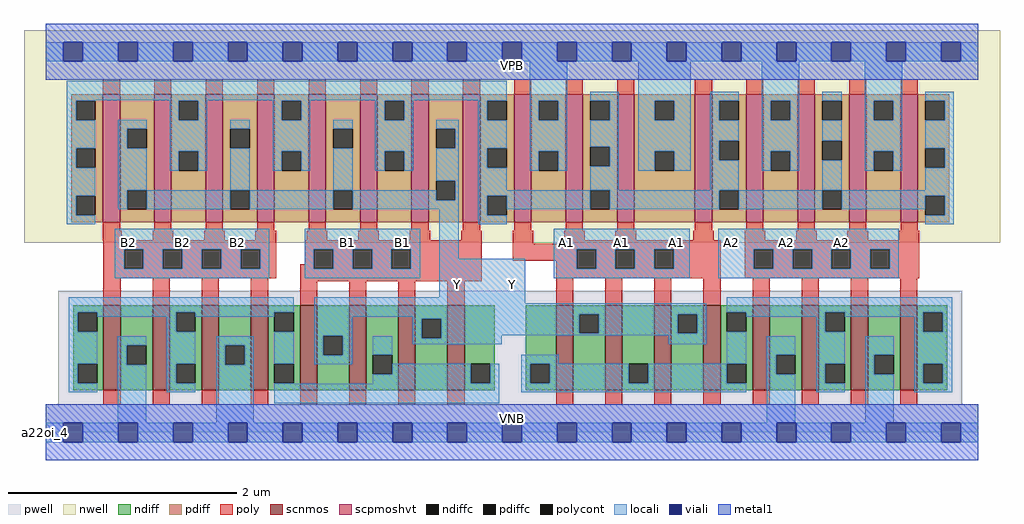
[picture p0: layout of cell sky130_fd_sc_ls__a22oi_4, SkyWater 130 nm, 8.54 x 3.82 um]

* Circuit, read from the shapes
.subckt sky130_fd_sc_ls__a22oi_4 A1 A2 B1 B2 VGND VNB VPB VPWR Y
XM1 VGND B2 n1 VNB sky130_fd_pr__nfet_01v8 w=0.74 l=0.15 m=4
XM2 Y B1 n1 VNB sky130_fd_pr__nfet_01v8 w=0.74 l=0.15 m=4
XM3 Y A1 n2 VNB sky130_fd_pr__nfet_01v8 w=0.74 l=0.15 m=4
XM4 VGND A2 n2 VNB sky130_fd_pr__nfet_01v8 w=0.74 l=0.15 m=4
XM5 Y B2 n3 VPB sky130_fd_pr__pfet_01v8_hvt w=1.12 l=0.15 m=4
XM6 Y B1 n3 VPB sky130_fd_pr__pfet_01v8_hvt w=1.12 l=0.15 m=4
XM7 VPWR A1 n3 VPB sky130_fd_pr__pfet_01v8_hvt w=1.12 l=0.15 m=4
XM8 VPWR A2 n3 VPB sky130_fd_pr__pfet_01v8_hvt w=1.12 l=0.15 m=4
.ends

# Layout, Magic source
magic
tech sky130A
magscale 1 2
<< nwell >>
rect -38 332 1670 704
<< pwell >>
rect 22 49 1604 248
rect 0 0 1632 49
<< scnmos >>
rect 101 74 131 222
rect 187 74 217 222
rect 273 74 303 222
rect 359 74 389 222
rect 445 74 475 222
rect 531 74 561 222
rect 617 74 647 222
rect 703 74 733 222
rect 893 74 923 222
rect 979 74 1009 222
rect 1065 74 1095 222
rect 1151 74 1181 222
rect 1237 74 1267 222
rect 1323 74 1353 222
rect 1409 74 1439 222
rect 1495 74 1525 222
<< scpmoshvt >>
rect 100 368 130 592
rect 190 368 220 592
rect 280 368 310 592
rect 370 368 400 592
rect 460 368 490 592
rect 550 368 580 592
rect 640 368 670 592
rect 730 368 760 592
rect 820 368 850 592
rect 910 368 940 592
rect 1000 368 1030 592
rect 1136 368 1166 592
rect 1226 368 1256 592
rect 1316 368 1346 592
rect 1406 368 1436 592
rect 1496 368 1526 592
<< ndiff >>
rect 48 210 101 222
rect 48 176 56 210
rect 90 176 101 210
rect 48 120 101 176
rect 48 86 56 120
rect 90 86 101 120
rect 48 74 101 86
rect 131 152 187 222
rect 131 118 142 152
rect 176 118 187 152
rect 131 74 187 118
rect 217 210 273 222
rect 217 176 228 210
rect 262 176 273 210
rect 217 120 273 176
rect 217 86 228 120
rect 262 86 273 120
rect 217 74 273 86
rect 303 152 359 222
rect 303 118 314 152
rect 348 118 359 152
rect 303 74 359 118
rect 389 210 445 222
rect 389 176 400 210
rect 434 176 445 210
rect 389 120 445 176
rect 389 86 400 120
rect 434 86 445 120
rect 389 74 445 86
rect 475 169 531 222
rect 475 135 486 169
rect 520 135 531 169
rect 475 74 531 135
rect 561 136 617 222
rect 561 102 572 136
rect 606 102 617 136
rect 561 74 617 102
rect 647 199 703 222
rect 647 165 658 199
rect 692 165 703 199
rect 647 74 703 165
rect 733 120 786 222
rect 733 86 744 120
rect 778 86 786 120
rect 733 74 786 86
rect 840 120 893 222
rect 840 86 848 120
rect 882 86 893 120
rect 840 74 893 86
rect 923 207 979 222
rect 923 173 934 207
rect 968 173 979 207
rect 923 74 979 173
rect 1009 120 1065 222
rect 1009 86 1020 120
rect 1054 86 1065 120
rect 1009 74 1065 86
rect 1095 207 1151 222
rect 1095 173 1106 207
rect 1140 173 1151 207
rect 1095 74 1151 173
rect 1181 210 1237 222
rect 1181 176 1192 210
rect 1226 176 1237 210
rect 1181 120 1237 176
rect 1181 86 1192 120
rect 1226 86 1237 120
rect 1181 74 1237 86
rect 1267 136 1323 222
rect 1267 102 1278 136
rect 1312 102 1323 136
rect 1267 74 1323 102
rect 1353 210 1409 222
rect 1353 176 1364 210
rect 1398 176 1409 210
rect 1353 120 1409 176
rect 1353 86 1364 120
rect 1398 86 1409 120
rect 1353 74 1409 86
rect 1439 136 1495 222
rect 1439 102 1450 136
rect 1484 102 1495 136
rect 1439 74 1495 102
rect 1525 210 1578 222
rect 1525 176 1536 210
rect 1570 176 1578 210
rect 1525 120 1578 176
rect 1525 86 1536 120
rect 1570 86 1578 120
rect 1525 74 1578 86
<< pdiff >>
rect 45 580 100 592
rect 45 546 53 580
rect 87 546 100 580
rect 45 497 100 546
rect 45 463 53 497
rect 87 463 100 497
rect 45 414 100 463
rect 45 380 53 414
rect 87 380 100 414
rect 45 368 100 380
rect 130 531 190 592
rect 130 497 143 531
rect 177 497 190 531
rect 130 424 190 497
rect 130 390 143 424
rect 177 390 190 424
rect 130 368 190 390
rect 220 580 280 592
rect 220 546 233 580
rect 267 546 280 580
rect 220 492 280 546
rect 220 458 233 492
rect 267 458 280 492
rect 220 368 280 458
rect 310 531 370 592
rect 310 497 323 531
rect 357 497 370 531
rect 310 424 370 497
rect 310 390 323 424
rect 357 390 370 424
rect 310 368 370 390
rect 400 580 460 592
rect 400 546 413 580
rect 447 546 460 580
rect 400 492 460 546
rect 400 458 413 492
rect 447 458 460 492
rect 400 368 460 458
rect 490 531 550 592
rect 490 497 503 531
rect 537 497 550 531
rect 490 424 550 497
rect 490 390 503 424
rect 537 390 550 424
rect 490 368 550 390
rect 580 580 640 592
rect 580 546 593 580
rect 627 546 640 580
rect 580 492 640 546
rect 580 458 593 492
rect 627 458 640 492
rect 580 368 640 458
rect 670 531 730 592
rect 670 497 683 531
rect 717 497 730 531
rect 670 440 730 497
rect 670 406 683 440
rect 717 406 730 440
rect 670 368 730 406
rect 760 580 820 592
rect 760 546 773 580
rect 807 546 820 580
rect 760 497 820 546
rect 760 463 773 497
rect 807 463 820 497
rect 760 414 820 463
rect 760 380 773 414
rect 807 380 820 414
rect 760 368 820 380
rect 850 580 910 592
rect 850 546 863 580
rect 897 546 910 580
rect 850 492 910 546
rect 850 458 863 492
rect 897 458 910 492
rect 850 368 910 458
rect 940 580 1000 592
rect 940 546 953 580
rect 987 546 1000 580
rect 940 500 1000 546
rect 940 466 953 500
rect 987 466 1000 500
rect 940 424 1000 466
rect 940 390 953 424
rect 987 390 1000 424
rect 940 368 1000 390
rect 1030 580 1136 592
rect 1030 546 1066 580
rect 1100 546 1136 580
rect 1030 492 1136 546
rect 1030 458 1066 492
rect 1100 458 1136 492
rect 1030 368 1136 458
rect 1166 580 1226 592
rect 1166 546 1179 580
rect 1213 546 1226 580
rect 1166 510 1226 546
rect 1166 476 1179 510
rect 1213 476 1226 510
rect 1166 424 1226 476
rect 1166 390 1179 424
rect 1213 390 1226 424
rect 1166 368 1226 390
rect 1256 580 1316 592
rect 1256 546 1269 580
rect 1303 546 1316 580
rect 1256 492 1316 546
rect 1256 458 1269 492
rect 1303 458 1316 492
rect 1256 368 1316 458
rect 1346 580 1406 592
rect 1346 546 1359 580
rect 1393 546 1406 580
rect 1346 510 1406 546
rect 1346 476 1359 510
rect 1393 476 1406 510
rect 1346 424 1406 476
rect 1346 390 1359 424
rect 1393 390 1406 424
rect 1346 368 1406 390
rect 1436 580 1496 592
rect 1436 546 1449 580
rect 1483 546 1496 580
rect 1436 492 1496 546
rect 1436 458 1449 492
rect 1483 458 1496 492
rect 1436 368 1496 458
rect 1526 580 1581 592
rect 1526 546 1539 580
rect 1573 546 1581 580
rect 1526 497 1581 546
rect 1526 463 1539 497
rect 1573 463 1581 497
rect 1526 414 1581 463
rect 1526 380 1539 414
rect 1573 380 1581 414
rect 1526 368 1581 380
<< ndiffc >>
rect 56 176 90 210
rect 56 86 90 120
rect 142 118 176 152
rect 228 176 262 210
rect 228 86 262 120
rect 314 118 348 152
rect 400 176 434 210
rect 400 86 434 120
rect 486 135 520 169
rect 572 102 606 136
rect 658 165 692 199
rect 744 86 778 120
rect 848 86 882 120
rect 934 173 968 207
rect 1020 86 1054 120
rect 1106 173 1140 207
rect 1192 176 1226 210
rect 1192 86 1226 120
rect 1278 102 1312 136
rect 1364 176 1398 210
rect 1364 86 1398 120
rect 1450 102 1484 136
rect 1536 176 1570 210
rect 1536 86 1570 120
<< pdiffc >>
rect 53 546 87 580
rect 53 463 87 497
rect 53 380 87 414
rect 143 497 177 531
rect 143 390 177 424
rect 233 546 267 580
rect 233 458 267 492
rect 323 497 357 531
rect 323 390 357 424
rect 413 546 447 580
rect 413 458 447 492
rect 503 497 537 531
rect 503 390 537 424
rect 593 546 627 580
rect 593 458 627 492
rect 683 497 717 531
rect 683 406 717 440
rect 773 546 807 580
rect 773 463 807 497
rect 773 380 807 414
rect 863 546 897 580
rect 863 458 897 492
rect 953 546 987 580
rect 953 466 987 500
rect 953 390 987 424
rect 1066 546 1100 580
rect 1066 458 1100 492
rect 1179 546 1213 580
rect 1179 476 1213 510
rect 1179 390 1213 424
rect 1269 546 1303 580
rect 1269 458 1303 492
rect 1359 546 1393 580
rect 1359 476 1393 510
rect 1359 390 1393 424
rect 1449 546 1483 580
rect 1449 458 1483 492
rect 1539 546 1573 580
rect 1539 463 1573 497
rect 1539 380 1573 414
<< poly >>
rect 100 592 130 618
rect 190 592 220 618
rect 280 592 310 618
rect 370 592 400 618
rect 460 592 490 618
rect 550 592 580 618
rect 640 592 670 618
rect 730 592 760 618
rect 820 592 850 618
rect 910 592 940 618
rect 1000 592 1030 618
rect 1136 592 1166 618
rect 1226 592 1256 618
rect 1316 592 1346 618
rect 1406 592 1436 618
rect 1496 592 1526 618
rect 100 353 130 368
rect 190 353 220 368
rect 280 353 310 368
rect 370 353 400 368
rect 460 353 490 368
rect 550 353 580 368
rect 640 353 670 368
rect 730 353 760 368
rect 820 353 850 368
rect 910 353 940 368
rect 1000 353 1030 368
rect 1136 353 1166 368
rect 1226 353 1256 368
rect 1316 353 1346 368
rect 1406 353 1436 368
rect 1496 353 1526 368
rect 100 336 133 353
rect 187 336 223 353
rect 277 336 313 353
rect 367 336 403 353
rect 457 336 493 353
rect 547 336 583 353
rect 637 336 673 353
rect 727 336 763 353
rect 101 320 403 336
rect 101 286 137 320
rect 171 286 205 320
rect 239 286 273 320
rect 307 286 341 320
rect 375 286 403 320
rect 453 320 763 336
rect 453 294 469 320
rect 101 270 403 286
rect 445 286 469 294
rect 503 286 537 320
rect 571 286 605 320
rect 639 286 763 320
rect 817 330 853 353
rect 907 336 943 353
rect 997 336 1033 353
rect 1133 336 1169 353
rect 1223 336 1259 353
rect 1313 336 1349 353
rect 1403 336 1439 353
rect 1493 336 1529 353
rect 907 330 1181 336
rect 817 320 1181 330
rect 817 300 929 320
rect 101 222 131 270
rect 187 222 217 270
rect 273 222 303 270
rect 359 222 389 270
rect 445 264 763 286
rect 893 286 929 300
rect 963 286 997 320
rect 1031 286 1065 320
rect 1099 286 1181 320
rect 893 270 1181 286
rect 1223 320 1529 336
rect 1223 286 1239 320
rect 1273 286 1307 320
rect 1341 286 1375 320
rect 1409 286 1443 320
rect 1477 286 1529 320
rect 1223 270 1529 286
rect 445 222 475 264
rect 531 222 561 264
rect 617 222 647 264
rect 703 222 733 264
rect 893 222 923 270
rect 979 222 1009 270
rect 1065 222 1095 270
rect 1151 222 1181 270
rect 1237 222 1267 270
rect 1323 222 1353 270
rect 1409 222 1439 270
rect 1495 222 1525 270
rect 101 48 131 74
rect 187 48 217 74
rect 273 48 303 74
rect 359 48 389 74
rect 445 48 475 74
rect 531 48 561 74
rect 617 48 647 74
rect 703 48 733 74
rect 893 48 923 74
rect 979 48 1009 74
rect 1065 48 1095 74
rect 1151 48 1181 74
rect 1237 48 1267 74
rect 1323 48 1353 74
rect 1409 48 1439 74
rect 1495 48 1525 74
<< polycont >>
rect 137 286 171 320
rect 205 286 239 320
rect 273 286 307 320
rect 341 286 375 320
rect 469 286 503 320
rect 537 286 571 320
rect 605 286 639 320
rect 929 286 963 320
rect 997 286 1031 320
rect 1065 286 1099 320
rect 1239 286 1273 320
rect 1307 286 1341 320
rect 1375 286 1409 320
rect 1443 286 1477 320
<< locali >>
rect 0 649 31 683
rect 65 649 127 683
rect 161 649 223 683
rect 257 649 319 683
rect 353 649 415 683
rect 449 649 511 683
rect 545 649 607 683
rect 641 649 703 683
rect 737 649 799 683
rect 833 649 895 683
rect 929 649 991 683
rect 1025 649 1087 683
rect 1121 649 1183 683
rect 1217 649 1279 683
rect 1313 649 1375 683
rect 1409 649 1471 683
rect 1505 649 1567 683
rect 1601 649 1632 683
rect 37 581 807 615
rect 37 580 87 581
rect 37 546 53 580
rect 217 580 283 581
rect 37 497 87 546
rect 37 463 53 497
rect 37 414 87 463
rect 37 380 53 414
rect 127 531 177 547
rect 127 497 143 531
rect 127 424 177 497
rect 217 546 233 580
rect 267 546 283 580
rect 397 580 463 581
rect 217 492 283 546
rect 217 458 233 492
rect 267 458 283 492
rect 323 531 357 547
rect 323 424 357 497
rect 397 546 413 580
rect 447 546 463 580
rect 577 580 643 581
rect 397 492 463 546
rect 397 458 413 492
rect 447 458 463 492
rect 503 531 537 547
rect 503 424 537 497
rect 577 546 593 580
rect 627 546 643 580
rect 757 580 807 581
rect 577 492 643 546
rect 577 458 593 492
rect 627 458 643 492
rect 683 531 723 547
rect 717 497 723 531
rect 683 440 723 497
rect 127 390 143 424
rect 177 390 323 424
rect 357 390 503 424
rect 537 406 683 424
rect 717 406 723 440
rect 537 390 723 406
rect 37 364 87 380
rect 121 320 391 356
rect 121 286 137 320
rect 171 286 205 320
rect 239 286 273 320
rect 307 286 341 320
rect 375 286 391 320
rect 121 270 391 286
rect 453 320 655 356
rect 453 286 469 320
rect 503 286 537 320
rect 571 286 605 320
rect 639 286 655 320
rect 453 270 655 286
rect 689 304 723 390
rect 757 546 773 580
rect 757 497 807 546
rect 757 463 773 497
rect 757 424 807 463
rect 847 580 913 649
rect 847 546 863 580
rect 897 546 913 580
rect 847 492 913 546
rect 847 458 863 492
rect 897 458 913 492
rect 953 580 1003 596
rect 987 546 1003 580
rect 953 500 1003 546
rect 987 466 1003 500
rect 953 424 1003 466
rect 1037 580 1129 649
rect 1037 546 1066 580
rect 1100 546 1129 580
rect 1037 492 1129 546
rect 1037 458 1066 492
rect 1100 458 1129 492
rect 1163 580 1213 596
rect 1163 546 1179 580
rect 1163 510 1213 546
rect 1163 476 1179 510
rect 1163 424 1213 476
rect 1253 580 1319 649
rect 1253 546 1269 580
rect 1303 546 1319 580
rect 1253 492 1319 546
rect 1253 458 1269 492
rect 1303 458 1319 492
rect 1359 580 1393 596
rect 1359 510 1393 546
rect 1359 424 1393 476
rect 1433 580 1499 649
rect 1433 546 1449 580
rect 1483 546 1499 580
rect 1433 492 1499 546
rect 1433 458 1449 492
rect 1483 458 1499 492
rect 1539 580 1589 596
rect 1573 546 1589 580
rect 1539 497 1589 546
rect 1573 463 1589 497
rect 1539 424 1589 463
rect 757 414 953 424
rect 757 380 773 414
rect 807 390 953 414
rect 987 390 1179 424
rect 1213 390 1359 424
rect 1393 414 1589 424
rect 1393 390 1539 414
rect 757 364 807 380
rect 1573 380 1589 414
rect 1539 364 1589 380
rect 889 320 1127 356
rect 689 236 839 304
rect 889 286 929 320
rect 963 286 997 320
rect 1031 286 1065 320
rect 1099 286 1127 320
rect 889 270 1127 286
rect 1177 320 1493 356
rect 1177 286 1239 320
rect 1273 286 1307 320
rect 1341 286 1375 320
rect 1409 286 1443 320
rect 1477 286 1493 320
rect 1177 270 1493 286
rect 40 210 434 236
rect 40 176 56 210
rect 90 202 228 210
rect 40 120 90 176
rect 212 176 228 202
rect 262 202 400 210
rect 40 86 56 120
rect 40 70 90 86
rect 126 152 176 168
rect 126 118 142 152
rect 126 17 176 118
rect 212 120 262 176
rect 212 86 228 120
rect 212 70 262 86
rect 298 152 364 168
rect 298 118 314 152
rect 348 118 364 152
rect 298 17 364 118
rect 400 120 434 176
rect 470 226 839 236
rect 470 207 1156 226
rect 470 202 934 207
rect 470 169 536 202
rect 470 135 486 169
rect 520 135 536 169
rect 642 199 934 202
rect 470 119 536 135
rect 572 136 606 168
rect 642 165 658 199
rect 692 173 934 199
rect 968 173 1106 207
rect 1140 173 1156 207
rect 692 170 1156 173
rect 692 165 798 170
rect 642 154 798 165
rect 1090 154 1156 170
rect 1192 210 1586 236
rect 1226 202 1364 210
rect 400 85 434 86
rect 832 120 898 136
rect 1192 120 1226 176
rect 1348 176 1364 202
rect 1398 202 1536 210
rect 606 102 744 120
rect 572 86 744 102
rect 778 86 794 120
rect 572 85 794 86
rect 400 51 794 85
rect 832 86 848 120
rect 882 86 1020 120
rect 1054 86 1192 120
rect 832 70 1226 86
rect 1262 136 1312 168
rect 1262 102 1278 136
rect 1262 17 1312 102
rect 1348 120 1398 176
rect 1520 176 1536 202
rect 1570 176 1586 210
rect 1348 86 1364 120
rect 1348 70 1398 86
rect 1434 136 1484 168
rect 1434 102 1450 136
rect 1434 17 1484 102
rect 1520 120 1586 176
rect 1520 86 1536 120
rect 1570 86 1586 120
rect 1520 70 1586 86
rect 0 -17 31 17
rect 65 -17 127 17
rect 161 -17 223 17
rect 257 -17 319 17
rect 353 -17 415 17
rect 449 -17 511 17
rect 545 -17 607 17
rect 641 -17 703 17
rect 737 -17 799 17
rect 833 -17 895 17
rect 929 -17 991 17
rect 1025 -17 1087 17
rect 1121 -17 1183 17
rect 1217 -17 1279 17
rect 1313 -17 1375 17
rect 1409 -17 1471 17
rect 1505 -17 1567 17
rect 1601 -17 1632 17
<< viali >>
rect 31 649 65 683
rect 127 649 161 683
rect 223 649 257 683
rect 319 649 353 683
rect 415 649 449 683
rect 511 649 545 683
rect 607 649 641 683
rect 703 649 737 683
rect 799 649 833 683
rect 895 649 929 683
rect 991 649 1025 683
rect 1087 649 1121 683
rect 1183 649 1217 683
rect 1279 649 1313 683
rect 1375 649 1409 683
rect 1471 649 1505 683
rect 1567 649 1601 683
rect 31 -17 65 17
rect 127 -17 161 17
rect 223 -17 257 17
rect 319 -17 353 17
rect 415 -17 449 17
rect 511 -17 545 17
rect 607 -17 641 17
rect 703 -17 737 17
rect 799 -17 833 17
rect 895 -17 929 17
rect 991 -17 1025 17
rect 1087 -17 1121 17
rect 1183 -17 1217 17
rect 1279 -17 1313 17
rect 1375 -17 1409 17
rect 1471 -17 1505 17
rect 1567 -17 1601 17
<< metal1 >>
rect 0 683 1632 715
rect 0 649 31 683
rect 65 649 127 683
rect 161 649 223 683
rect 257 649 319 683
rect 353 649 415 683
rect 449 649 511 683
rect 545 649 607 683
rect 641 649 703 683
rect 737 649 799 683
rect 833 649 895 683
rect 929 649 991 683
rect 1025 649 1087 683
rect 1121 649 1183 683
rect 1217 649 1279 683
rect 1313 649 1375 683
rect 1409 649 1471 683
rect 1505 649 1567 683
rect 1601 649 1632 683
rect 0 617 1632 649
rect 0 17 1632 49
rect 0 -17 31 17
rect 65 -17 127 17
rect 161 -17 223 17
rect 257 -17 319 17
rect 353 -17 415 17
rect 449 -17 511 17
rect 545 -17 607 17
rect 641 -17 703 17
rect 737 -17 799 17
rect 833 -17 895 17
rect 929 -17 991 17
rect 1025 -17 1087 17
rect 1121 -17 1183 17
rect 1217 -17 1279 17
rect 1313 -17 1375 17
rect 1409 -17 1471 17
rect 1505 -17 1567 17
rect 1601 -17 1632 17
rect 0 -49 1632 -17
<< labels >>
rlabel comment s 0 0 0 0 4 a22oi_4
flabel pwell s 0 0 1632 49 0 FreeSans 200 0 0 0 VNB
port 6 nsew ground bidirectional
flabel nwell s 0 617 1632 666 0 FreeSans 200 0 0 0 VPB
port 7 nsew power bidirectional
flabel metal1 s 0 617 1632 666 0 FreeSans 340 0 0 0 VPWR
port 8 nsew power bidirectional abutment
flabel metal1 s 0 0 1632 49 0 FreeSans 340 0 0 0 VGND
port 5 nsew ground bidirectional abutment
flabel locali s 703 242 737 276 0 FreeSans 340 0 0 0 Y
port 9 nsew signal output
flabel locali s 799 242 833 276 0 FreeSans 340 0 0 0 Y
port 9 nsew signal output
flabel locali s 127 316 161 350 0 FreeSans 340 0 0 0 B2
port 4 nsew signal input
flabel locali s 223 316 257 350 0 FreeSans 340 0 0 0 B2
port 4 nsew signal input
flabel locali s 319 316 353 350 0 FreeSans 340 0 0 0 B2
port 4 nsew signal input
flabel locali s 511 316 545 350 0 FreeSans 340 0 0 0 B1
port 3 nsew signal input
flabel locali s 607 316 641 350 0 FreeSans 340 0 0 0 B1
port 3 nsew signal input
flabel locali s 1183 316 1217 350 0 FreeSans 340 0 0 0 A2
port 2 nsew signal input
flabel locali s 1279 316 1313 350 0 FreeSans 340 0 0 0 A2
port 2 nsew signal input
flabel locali s 1375 316 1409 350 0 FreeSans 340 0 0 0 A2
port 2 nsew signal input
flabel locali s 895 316 929 350 0 FreeSans 340 0 0 0 A1
port 1 nsew signal input
flabel locali s 991 316 1025 350 0 FreeSans 340 0 0 0 A1
port 1 nsew signal input
flabel locali s 1087 316 1121 350 0 FreeSans 340 0 0 0 A1
port 1 nsew signal input
<< properties >>
string LEFsite unit
string LEFclass CORE
string FIXED_BBOX 0 0 1632 666
string GDS_FILE $PDKPATH/libs.ref/sky130_fd_sc_ls/gds/sky130_fd_sc_ls.gds
string LEFsymmetry X Y
string GDS_END 385718
string GDS_START 372178
<< end >>
